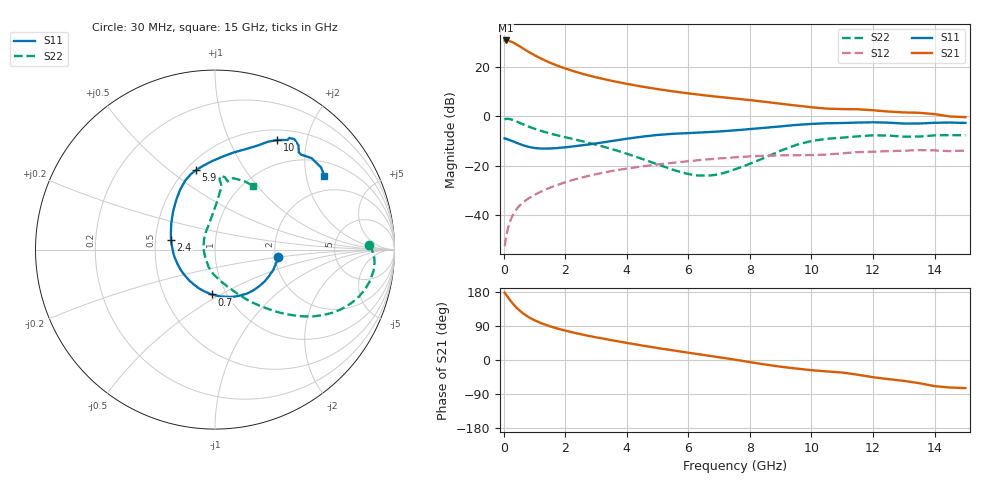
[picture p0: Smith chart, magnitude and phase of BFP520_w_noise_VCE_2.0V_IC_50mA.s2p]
! Infineon Technologies  Discrete & RF Semiconductors
! BFP520
! VCE =  2.0 V,  IC =  50 mA
! Common Emitter S-Parameters:  Oct 2015
# GHz  S  MA  R  50
!  f  S11  S21  S12  S22
! GHz  MAG  ANG  MAG  ANG  MAG  ANG  MAG  ANG
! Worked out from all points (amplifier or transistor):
!   109 points, 30 MHz to 15 GHz, reference 50 ohm
!   highest |S21| = 30.8 dB at 70 MHz (marker M1)
!   |S21| within 3 dB of that: start of sweep to 597.4 MHz
!   unconditionally stable (mu >= 1): start of sweep to 55.84 MHz; 1.571 GHz to end of sweep
!   at 450 MHz: K = 0.56, MSG = 33.1 dB, |S12| = -37.2 dB
!   at 4 GHz: K = 1.22, MAG = 14.4 dB, |S12| = -21.2 dB
!   at 15 GHz: K = 1.32, MAG = 3.4 dB, |S12| = -13.9 dB
!   lowest NFmin = 3.26 dB at 450 MHz
!   S11 on the Smith chart (normalised r, x): 30 MHz: 2.08, -0.20; 700 MHz: 0.85, -0.45; 2.4 GHz: 0.60, +0.07; 5.9 GHz: 0.56, +0.62; 10 GHz: 0.63, +1.53; 15 GHz: 1.43, +2.56
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0.03  0.356 -6.6  34.65 177.7  0.0023 114.2  0.856 1.6
0.07  0.3462 -13.1  34.85 173.1  0.0033 95.6  0.8842 -1.8
0.14  0.3364 -23.7  34.47 165.3  0.0053 84.2  0.8912 -7.4
0.2  0.3284 -32.9  33.66 158.7  0.0071 80.9  0.8793 -11.8
0.3  0.3113 -47.1  31.68 148.5  0.0099 77.1  0.8426 -18.2
0.35  0.3029 -54.1  30.52 143.9  0.0112 75.9  0.8196 -21.0
0.5  0.2765 -72.5  26.89 131.8  0.0149 72.3  0.7481 -27.9
0.7  0.2504 -94.4  22.52 119.0  0.0193 69.8  0.6601 -34.3
0.8  0.2407 -103.9  20.63 113.7  0.0213 68.9  0.6229 -36.7
1  0.2275 -121.1  17.55 105.0  0.0253 67.8  0.5601 -40.6
1.3  0.2212 -142.5  14.09 94.7  0.0313 66.4  0.4883 -45.2
1.7  0.2259 -164.7  11 84.1  0.0394 64.5  0.418 -50.1
2.4  0.2514 167.1  7.825 69.9  0.0541 59.9  0.3287 -57.6
2.6  0.261 160.5  7.203 66.3  0.0583 58.4  0.307 -59.6
3.5  0.3148 138.0  5.281 52.2  0.0772 50.6  0.2177 -71.4
5.1  0.4234 112.1  3.504 30.3  0.1067 36.0  0.1006 -111.3
5.9  0.454 103.5  2.984 20.6  0.121 28.8  0.0696 -139.9
7.6  0.5251 84.1  2.27 -0.3  0.1481 12.5  0.0875 132.5
10  0.7024 60.4  1.53 -26.9  0.1635 -8.7  0.316 85.4
10.5  0.7242 57.5  1.434 -30.1  0.1676 -10.9  0.3499 84.0
13  0.7144 49.2  1.201 -55.1  0.2005 -32.5  0.3865 79.5
15  0.7352 34.0  0.963 -74.1  0.2017 -49.0  0.4141 59.0
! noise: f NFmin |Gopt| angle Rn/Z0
0.45  3.26  0.19  -159  0.29
0.9  3.26  0.21  -151  0.32
1.9  3.39  0.27  -127  0.39
2.4  3.38  0.28  -123  0.37
3.5  3.38  0.27  -109  0.45
